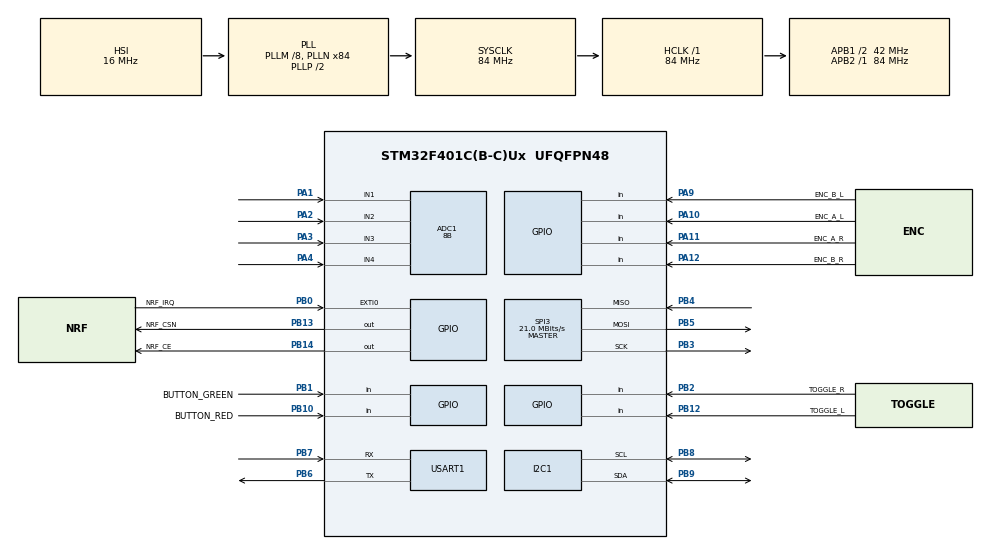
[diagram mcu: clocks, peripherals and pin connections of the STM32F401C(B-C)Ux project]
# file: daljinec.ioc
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ADC1.Channel-14\#ChannelRegularConversion=ADC_CHANNEL_2
ADC1.Channel-15\#ChannelRegularConversion=ADC_CHANNEL_3
ADC1.Channel-16\#ChannelRegularConversion=ADC_CHANNEL_4
ADC1.Channel-5\#ChannelRegularConversion=ADC_CHANNEL_1
ADC1.ClockPrescaler=ADC_CLOCK_SYNC_PCLK_DIV4
ADC1.ContinuousConvMode=DISABLE
ADC1.DMAContinuousRequests=DISABLE
ADC1.NbrOfConversion=4
ADC1.NbrOfConversionFlag=1
ADC1.Rank-14\#ChannelRegularConversion=2
ADC1.Rank-15\#ChannelRegularConversion=3
ADC1.Rank-16\#ChannelRegularConversion=4
ADC1.Resolution=ADC_RESOLUTION_8B
ADC1.SamplingTime-14\#ChannelRegularConversion=ADC_SAMPLETIME_112CYCLES
ADC1.SamplingTime-15\#ChannelRegularConversion=ADC_SAMPLETIME_112CYCLES
ADC1.SamplingTime-16\#ChannelRegularConversion=ADC_SAMPLETIME_112CYCLES
ADC1.SamplingTime-5\#ChannelRegularConversion=ADC_SAMPLETIME_112CYCLES
ADC1.ScanConvMode=ENABLE
ADC1.master=1
Dma.ADC1.0.Direction=DMA_PERIPH_TO_MEMORY
Dma.ADC1.0.FIFOMode=DMA_FIFOMODE_DISABLE
Dma.ADC1.0.Instance=DMA2_Stream0
Dma.ADC1.0.MemDataAlignment=DMA_MDATAALIGN_HALFWORD
Dma.ADC1.0.MemInc=DMA_MINC_ENABLE
Dma.ADC1.0.Mode=DMA_NORMAL
Dma.ADC1.0.PeriphDataAlignment=DMA_PDATAALIGN_HALFWORD
Dma.ADC1.0.PeriphInc=DMA_PINC_DISABLE
Dma.ADC1.0.Priority=DMA_PRIORITY_LOW
Dma.Request0=ADC1
I2C1.I2C_Mode=I2C_Fast
Mcu.Family=STM32F4
Mcu.Name=STM32F401C(B-C)Ux
Mcu.Package=UFQFPN48
NVIC.DMA2_Stream0_IRQn=true\:0\:0\:false\:false\:true\:false\:true
NVIC.EXTI0_IRQn=true\:0\:0\:false\:false\:true\:true\:true
NVIC.PriorityGroup=NVIC_PRIORITYGROUP_4
NVIC.TIM2_IRQn=true\:0\:0\:false\:false\:true\:true\:true
PA1.Signal=ADCx_IN1
PA10.GPIO_Label=ENC_A_L
PA10.Signal=GPIO_Input
PA11.GPIO_Label=ENC_A_R
PA11.Signal=GPIO_Input
PA12.GPIO_Label=ENC_B_R
PA12.Signal=GPIO_Input
PA2.Signal=ADCx_IN2
PA3.Signal=ADCx_IN3
PA4.Signal=ADCx_IN4
PA5.Signal=SPI1_SCK
PA9.GPIO_Label=ENC_B_L
PA9.Signal=GPIO_Input
PB0.GPIO_Label=NRF_IRQ
PB0.GPIO_ModeDefaultEXTI=GPIO_MODE_IT_FALLING
PB0.Signal=GPXTI0
PB1.GPIO_Label=BUTTON_GREEN
PB1.Signal=GPIO_Input
PB10.GPIO_Label=BUTTON_RED
PB10.Signal=GPIO_Input
PB12.GPIO_Label=TOGGLE_L
PB12.Signal=GPIO_Input
PB13.GPIO_Label=NRF_CSN
PB13.Signal=GPIO_Output
PB14.GPIO_Label=NRF_CE
PB14.Signal=GPIO_Output
PB2.GPIO_Label=TOGGLE_R
PB2.Signal=GPIO_Input
PB3.Mode=Full_Duplex_Master
PB3.Signal=SPI3_SCK
PB4.Mode=Full_Duplex_Master
PB4.Signal=SPI3_MISO
PB5.Mode=Full_Duplex_Master
PB5.Signal=SPI3_MOSI
PB6.Mode=Asynchronous
PB6.Signal=USART1_TX
PB7.Mode=Asynchronous
PB7.Signal=USART1_RX
PB8.Mode=I2C
PB8.Signal=I2C1_SCL
PB9.Mode=I2C
PB9.Signal=I2C1_SDA
PH0\ -\ OSC_IN.Mode=HSE-External-Oscillator
PH0\ -\ OSC_IN.Signal=RCC_OSC_IN
PH1\ -\ OSC_OUT.Mode=HSE-External-Oscillator
PH1\ -\ OSC_OUT.Signal=RCC_OSC_OUT
ProjectManager.HeapSize=0x200
ProjectManager.StackSize=0x400
ProjectManager.TargetToolchain=STM32CubeIDE
RCC.48MHZClocksFreq_Value=42000000
RCC.AHBFreq_Value=84000000
RCC.APB1CLKDivider=RCC_HCLK_DIV2
RCC.APB1Freq_Value=42000000
RCC.APB1TimFreq_Value=84000000
RCC.APB2Freq_Value=84000000
RCC.APB2TimFreq_Value=84000000
RCC.CortexFreq_Value=84000000
RCC.HCLKFreq_Value=84000000
RCC.HSE_VALUE=25000000
RCC.HSI_VALUE=16000000
RCC.LSE_VALUE=32768
RCC.PLLM=8
RCC.PLLN=84
RCC.SYSCLKFreq_VALUE=84000000
RCC.SYSCLKSource=RCC_SYSCLKSOURCE_PLLCLK
RCC.VCOOutputFreq_Value=168000000
SH.ADCx_IN1.0=ADC1_IN1,IN1
SH.ADCx_IN2.0=ADC1_IN2,IN2
SH.ADCx_IN3.0=ADC1_IN3,IN3
SH.ADCx_IN4.0=ADC1_IN4,IN4
SPI3.CalculateBaudRate=21.0 MBits/s
SPI3.Direction=SPI_DIRECTION_2LINES
SPI3.Mode=SPI_MODE_MASTER
SPI3.VirtualType=VM_MASTER
TIM2.Period=83999
USART1.VirtualMode=VM_ASYNC
VP_TIM2_VS_ClockSourceINT.Mode=Internal
board=custom

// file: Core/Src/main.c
/* USER CODE BEGIN Header */
/**
  ******************************************************************************
  * @file           : main.c
  * @brief          : Main program body
  ******************************************************************************
  * @attention
  *
  * <h2><center>&copy; Copyright (c) 2021 STMicroelectronics.
  * All rights reserved.</center></h2>
  *
  * This software component is licensed by ST under BSD 3-Clause license,
  * the "License"; You may not use this file except in compliance with the
  * License. You may obtain a copy of the License at:
  *                        opensource.org/licenses/BSD-3-Clause
  *
  ******************************************************************************
  */
/* USER CODE END Header */
#include "main.h"

/* USER CODE BEGIN Includes */
#include "ssd1306.h"
#include "nrf24.h"
#include "fonts.h"
#include "test.h"
#include "stdint.h"
#include <stdio.h>
/* USER CODE END Includes */

/* USER CODE BEGIN PTD */

struct robotPayload{
	int8_t x1;
	int8_t y1;
	int8_t x2;
	int8_t y2;
	uint8_t speed;
	uint8_t crc; //sestej vse podatke
} robotPay;

#define nRF24_WAIT_TIMEOUT 0xffff //timeout je majhen ker updatanje screena dela kot delay med vsakim polanjem

// Result of packet transmission
typedef enum {
	nRF24_TX_ERROR  = (uint8_t)0x00, // Unknown error
	nRF24_TX_SUCCESS,                // Packet has been transmitted successfully
	nRF24_TX_TIMEOUT,                // It was timeout during packet transmit
	nRF24_TX_MAXRT                   // Transmit failed with maximum auto retransmit count
} nRF24_TXResult;

void HAL_GPIO_EXTI_Callback(uint16_t GPIO_Pin);
/* USER CODE END PTD */

ADC_HandleTypeDef hadc1;
DMA_HandleTypeDef hdma_adc1;

I2C_HandleTypeDef hi2c1;

SPI_HandleTypeDef hspi3;

TIM_HandleTypeDef htim2;

UART_HandleTypeDef huart1;

/* USER CODE BEGIN PV */
volatile uint16_t ADCvalues[4];
volatile int conversionDone = 0;
char outputMessage[30] = "test";

int is_nrf24Avalible = 1;
volatile uint8_t nRF24_interupt = 0;
/* USER CODE END PV */

void SystemClock_Config(void);
static void MX_GPIO_Init(void);
static void MX_I2C1_Init(void);
static void MX_USART1_UART_Init(void);
static void MX_DMA_Init(void);
static void MX_ADC1_Init(void);
static void MX_TIM2_Init(void);
static void MX_SPI3_Init(void);

/* USER CODE BEGIN 0 */
void HAL_GPIO_EXTI_Callback(uint16_t GPIO_Pin){
	if(GPIO_Pin == GPIO_PIN_0){
		nRF24_interupt = 1; //spremenil se je status register pejt pogledat kaj se je zgodilo
	}
}
/* USER CODE END 0 */

int main(void)
{

  /* MCU Configuration--------------------------------------------------------*/

  /* Reset of all peripherals, Initializes the Flash interface and the Systick. */
  HAL_Init();

  /* Configure the system clock */
  SystemClock_Config();

  /* Initialize all configured peripherals */
  MX_GPIO_Init();
  MX_I2C1_Init();
  MX_DMA_Init();
  MX_USART1_UART_Init();
  MX_ADC1_Init();
  MX_TIM2_Init();
  MX_SPI3_Init();
  /* USER CODE BEGIN 2 */
  //DMA_init() mora biti klican pred ADC1_Init()!!!
  HAL_TIM_Base_Start(&htim2);
  __HAL_ADC_ENABLE(&hadc1);

  SSD1306_Init();  // Initialize
  nRF24_Init(); //nastavi radio ne pozabit nastaviti SPI handle in outpute v support.h

  is_nrf24Avalible = nRF24_Check();
  if(is_nrf24Avalible == 0){
	  SSD1306_GotoXY (10,10);
	  SSD1306_Puts ("erroe no nRF24", &Font_7x10, 1);
	  SSD1306_UpdateScreen();
	  while(1){} //ni nrf24 prisoten
  }

  nRF24_DisableAA(0xFF);
  nRF24_SetRFChannel(115);
  nRF24_SetDataRate(nRF24_DR_1Mbps);
  nRF24_SetCRCScheme(nRF24_CRC_off);
  nRF24_SetAddrWidth(3);

  static const uint8_t nRF24_ADDR[] = { 0xE7, 0x1C, 0xE3 };
  nRF24_SetAddr(nRF24_PIPETX, nRF24_ADDR); // program TX address
  // Set TX power (maximum)
  nRF24_SetTXPower(nRF24_TXPWR_0dBm);
  nRF24_SetOperationalMode(nRF24_MODE_TX);
  nRF24_ClearIRQFlags();
  // Wake the transceiver
  nRF24_SetPowerMode(nRF24_PWR_UP);
  int payload_length = 6;

  /*
     //SSD1306_ScrollRight(0,7);  // scroll entire screen
     //HAL_Delay(2000);  // 2 sec
     //SSD1306_ScrollLeft(0,7);  // scroll entire screen
     //HAL_Delay(2000);  // 2 sec
     //SSD1306_Stopscroll();
     SSD1306_InvertDisplay(1);   // invert the display
     HAL_Delay(2000);
     SSD1306_InvertDisplay(0);  // normalize the display
     HAL_Delay(2000);
     SSD1306_Clear();
*/
  /* USER CODE END 2 */

  /* Infinite loop */
  /* USER CODE BEGIN WHILE */
  int a = 0;
  volatile int posljiPaket = 1; //
  volatile uint32_t wait = nRF24_WAIT_TIMEOUT;

  while (1)
  {
	  HAL_ADC_Start_DMA(&hadc1, (uint32_t*)ADCvalues, 4);
	  //SSD1306_Fill (0);
	  while(conversionDone == 0){}
	  conversionDone = 0;
    /* USER CODE END WHILE */

    /* USER CODE BEGIN 3 */

	  /*
	  SSD1306_GotoXY (10,10);
	  sprintf(outputMessage,"stat:%d %d",is_nrf24Avalible,wait);
	  SSD1306_Puts (outputMessage, &Font_7x10, 1);

	  SSD1306_GotoXY (10,20);
	  sprintf(outputMessage,"1:%d",ADCvalues[0]);
	  SSD1306_Puts (outputMessage, &Font_7x10, 1);

	  SSD1306_GotoXY (10,30);
	  sprintf(outputMessage,"2:%d",ADCvalues[1]);
	  SSD1306_Puts (outputMessage, &Font_7x10, 1);

	  SSD1306_GotoXY (10,40);
	  sprintf(outputMessage,"3:%d",ADCvalues[2]);
	  SSD1306_Puts (outputMessage, &Font_7x10, 1);

	  SSD1306_GotoXY (10,50);
	  sprintf(outputMessage,"4:%d",ADCvalues[3]);
	  SSD1306_Puts (outputMessage, &Font_7x10, 1);

	  a++;
	  SSD1306_UpdateScreen();
	  */

	  //poslji paket
	  if(posljiPaket){
		  robotPay.x2 = ((int)ADCvalues[0])-128;
		  robotPay.y2 = ((int)ADCvalues[1])-128;
		  robotPay.y1 = ((int)ADCvalues[2])-128;
		  robotPay.x1 = ((int)ADCvalues[3])-128;
		  robotPay.speed = 100;
		  robotPay.crc = (robotPay.x1 + robotPay.y1 + robotPay.x2 + robotPay.y2 + robotPay.speed);
		  nRF24_CE_L();//omogoci cip zacni komunikacijo
		  nRF24_WritePayload((uint8_t*)&robotPay, payload_length); //prenesi podatke na TX FIFO
		  nRF24_CE_H();
		  wait = nRF24_WAIT_TIMEOUT;
		  posljiPaket = 0; //cakamo na ACK ali na timeout
	  }

	  if(wait){wait--;}
	  else{posljiPaket=1;} //timeout se je pojavil poslji se enkrat sporocilo

	  if(nRF24_interupt){
		  uint8_t status = nRF24_GetStatus();
		  nRF24_interupt = 0;
		  nRF24_CE_L();
		  nRF24_ClearIRQFlags();
		  if (status & nRF24_FLAG_MAX_RT) {// Auto retransmit counter exceeds the programmed maximum limit (FIFO is not removed)

		  }
		  else if (status & nRF24_FLAG_TX_DS){
			  // Successful transmission transmit
			  posljiPaket = 1;
		  }
		  else{nRF24_FlushTX();}
	  }
  }
  /* USER CODE END 3 */
}

void SystemClock_Config(void)
{
  RCC_OscInitTypeDef RCC_OscInitStruct = {0};
  RCC_ClkInitTypeDef RCC_ClkInitStruct = {0};

  /** Configure the main internal regulator output voltage
  */
  __HAL_RCC_PWR_CLK_ENABLE();
  __HAL_PWR_VOLTAGESCALING_CONFIG(PWR_REGULATOR_VOLTAGE_SCALE2);
  /** Initializes the RCC Oscillators according to the specified parameters
  * in the RCC_OscInitTypeDef structure.
  */
  RCC_OscInitStruct.OscillatorType = RCC_OSCILLATORTYPE_HSI;
  RCC_OscInitStruct.HSIState = RCC_HSI_ON;
  RCC_OscInitStruct.HSICalibrationValue = RCC_HSICALIBRATION_DEFAULT;
  RCC_OscInitStruct.PLL.PLLState = RCC_PLL_ON;
  RCC_OscInitStruct.PLL.PLLSource = RCC_PLLSOURCE_HSI;
  RCC_OscInitStruct.PLL.PLLM = 8;
  RCC_OscInitStruct.PLL.PLLN = 84;
  RCC_OscInitStruct.PLL.PLLP = RCC_PLLP_DIV2;
  RCC_OscInitStruct.PLL.PLLQ = 4;
  if (HAL_RCC_OscConfig(&RCC_OscInitStruct) != HAL_OK)
  {
    Error_Handler();
  }
  /** Initializes the CPU, AHB and APB buses clocks
  */
  RCC_ClkInitStruct.ClockType = RCC_CLOCKTYPE_HCLK|RCC_CLOCKTYPE_SYSCLK
                              |RCC_CLOCKTYPE_PCLK1|RCC_CLOCKTYPE_PCLK2;
  RCC_ClkInitStruct.SYSCLKSource = RCC_SYSCLKSOURCE_PLLCLK;
  RCC_ClkInitStruct.AHBCLKDivider = RCC_SYSCLK_DIV1;
  RCC_ClkInitStruct.APB1CLKDivider = RCC_HCLK_DIV2;
  RCC_ClkInitStruct.APB2CLKDivider = RCC_HCLK_DIV1;

  if (HAL_RCC_ClockConfig(&RCC_ClkInitStruct, FLASH_LATENCY_2) != HAL_OK)
  {
    Error_Handler();
  }
}

static void MX_ADC1_Init(void)
{

  ADC_ChannelConfTypeDef sConfig = {0};

  /** Configure the global features of the ADC (Clock, Resolution, Data Alignment and number of conversion)
  */
  hadc1.Instance = ADC1;
  hadc1.Init.ClockPrescaler = ADC_CLOCK_SYNC_PCLK_DIV4;
  hadc1.Init.Resolution = ADC_RESOLUTION_8B;
  hadc1.Init.ScanConvMode = ENABLE;
  hadc1.Init.ContinuousConvMode = DISABLE;
  hadc1.Init.DiscontinuousConvMode = DISABLE;
  hadc1.Init.ExternalTrigConvEdge = ADC_EXTERNALTRIGCONVEDGE_NONE;
  hadc1.Init.ExternalTrigConv = ADC_SOFTWARE_START;
  hadc1.Init.DataAlign = ADC_DATAALIGN_RIGHT;
  hadc1.Init.NbrOfConversion = 4;
  hadc1.Init.DMAContinuousRequests = DISABLE;
  hadc1.Init.EOCSelection = ADC_EOC_SINGLE_CONV;
  if (HAL_ADC_Init(&hadc1) != HAL_OK)
  {
    Error_Handler();
  }
  /** Configure for the selected ADC regular channel its corresponding rank in the sequencer and its sample time.
  */
  sConfig.Channel = ADC_CHANNEL_1;
  sConfig.Rank = 1;
  sConfig.SamplingTime = ADC_SAMPLETIME_112CYCLES;
  if (HAL_ADC_ConfigChannel(&hadc1, &sConfig) != HAL_OK)
  {
    Error_Handler();
  }
  /** Configure for the selected ADC regular channel its corresponding rank in the sequencer and its sample time.
  */
  sConfig.Channel = ADC_CHANNEL_2;
  sConfig.Rank = 2;
  if (HAL_ADC_ConfigChannel(&hadc1, &sConfig) != HAL_OK)
  {
    Error_Handler();
  }
  /** Configure for the selected ADC regular channel its corresponding rank in the sequencer and its sample time.
  */
  sConfig.Channel = ADC_CHANNEL_3;
  sConfig.Rank = 3;
  if (HAL_ADC_ConfigChannel(&hadc1, &sConfig) != HAL_OK)
  {
    Error_Handler();
  }
  /** Configure for the selected ADC regular channel its corresponding rank in the sequencer and its sample time.
  */
  sConfig.Channel = ADC_CHANNEL_4;
  sConfig.Rank = 4;
  if (HAL_ADC_ConfigChannel(&hadc1, &sConfig) != HAL_OK)
  {
    Error_Handler();
  }

}

static void MX_I2C1_Init(void)
{

  hi2c1.Instance = I2C1;
  hi2c1.Init.ClockSpeed = 400000;
  hi2c1.Init.DutyCycle = I2C_DUTYCYCLE_2;
  hi2c1.Init.OwnAddress1 = 0;
  hi2c1.Init.AddressingMode = I2C_ADDRESSINGMODE_7BIT;
  hi2c1.Init.DualAddressMode = I2C_DUALADDRESS_DISABLE;
  hi2c1.Init.OwnAddress2 = 0;
  hi2c1.Init.GeneralCallMode = I2C_GENERALCALL_DISABLE;
  hi2c1.Init.NoStretchMode = I2C_NOSTRETCH_DISABLE;
  if (HAL_I2C_Init(&hi2c1) != HAL_OK)
  {
    Error_Handler();
  }

}

static void MX_SPI3_Init(void)
{

  /* SPI3 parameter configuration*/
  hspi3.Instance = SPI3;
  hspi3.Init.Mode = SPI_MODE_MASTER;
  hspi3.Init.Direction = SPI_DIRECTION_2LINES;
  hspi3.Init.DataSize = SPI_DATASIZE_8BIT;
  hspi3.Init.CLKPolarity = SPI_POLARITY_LOW;
  hspi3.Init.CLKPhase = SPI_PHASE_1EDGE;
  hspi3.Init.NSS = SPI_NSS_SOFT;
  hspi3.Init.BaudRatePrescaler = SPI_BAUDRATEPRESCALER_2;
  hspi3.Init.FirstBit = SPI_FIRSTBIT_MSB;
  hspi3.Init.TIMode = SPI_TIMODE_DISABLE;
  hspi3.Init.CRCCalculation = SPI_CRCCALCULATION_DISABLE;
  hspi3.Init.CRCPolynomial = 10;
  if (HAL_SPI_Init(&hspi3) != HAL_OK)
  {
    Error_Handler();
  }

}

static void MX_TIM2_Init(void)
{

  TIM_ClockConfigTypeDef sClockSourceConfig = {0};
  TIM_MasterConfigTypeDef sMasterConfig = {0};

  htim2.Instance = TIM2;
  htim2.Init.Prescaler = 0;
  htim2.Init.CounterMode = TIM_COUNTERMODE_UP;
  htim2.Init.Period = 83999;
  htim2.Init.ClockDivision = TIM_CLOCKDIVISION_DIV1;
  htim2.Init.AutoReloadPreload = TIM_AUTORELOAD_PRELOAD_DISABLE;
  if (HAL_TIM_Base_Init(&htim2) != HAL_OK)
  {
    Error_Handler();
  }
  sClockSourceConfig.ClockSource = TIM_CLOCKSOURCE_INTERNAL;
  if (HAL_TIM_ConfigClockSource(&htim2, &sClockSourceConfig) != HAL_OK)
  {
    Error_Handler();
  }
  sMasterConfig.MasterOutputTrigger = TIM_TRGO_RESET;
  sMasterConfig.MasterSlaveMode = TIM_MASTERSLAVEMODE_DISABLE;
  if (HAL_TIMEx_MasterConfigSynchronization(&htim2, &sMasterConfig) != HAL_OK)
  {
    Error_Handler();
  }

}

static void MX_USART1_UART_Init(void)
{

  huart1.Instance = USART1;
  huart1.Init.BaudRate = 115200;
  huart1.Init.WordLength = UART_WORDLENGTH_8B;
  huart1.Init.StopBits = UART_STOPBITS_1;
  huart1.Init.Parity = UART_PARITY_NONE;
  huart1.Init.Mode = UART_MODE_TX_RX;
  huart1.Init.HwFlowCtl = UART_HWCONTROL_NONE;
  huart1.Init.OverSampling = UART_OVERSAMPLING_16;
  if (HAL_UART_Init(&huart1) != HAL_OK)
  {
    Error_Handler();
  }

}

static void MX_DMA_Init(void)
{

  /* DMA controller clock enable */
  __HAL_RCC_DMA2_CLK_ENABLE();

  /* DMA interrupt init */
  /* DMA2_Stream0_IRQn interrupt configuration */
  HAL_NVIC_SetPriority(DMA2_Stream0_IRQn, 0, 0);
  HAL_NVIC_EnableIRQ(DMA2_Stream0_IRQn);

}

static void MX_GPIO_Init(void)
{
  GPIO_InitTypeDef GPIO_InitStruct = {0};

  /* GPIO Ports Clock Enable */
  __HAL_RCC_GPIOH_CLK_ENABLE();
  __HAL_RCC_GPIOA_CLK_ENABLE();
  __HAL_RCC_GPIOB_CLK_ENABLE();

  /*Configure GPIO pin Output Level */
  HAL_GPIO_WritePin(GPIOB, NRF_CSN_Pin|NRF_CE_Pin, GPIO_PIN_RESET);

  /*Configure GPIO pin : PA5 */
  GPIO_InitStruct.Pin = GPIO_PIN_5;
  GPIO_InitStruct.Mode = GPIO_MODE_AF_PP;
  GPIO_InitStruct.Pull = GPIO_NOPULL;
  GPIO_InitStruct.Speed = GPIO_SPEED_FREQ_VERY_HIGH;
  GPIO_InitStruct.Alternate = GPIO_AF5_SPI1;
  HAL_GPIO_Init(GPIOA, &GPIO_InitStruct);

  /*Configure GPIO pin : NRF_IRQ_Pin */
  GPIO_InitStruct.Pin = NRF_IRQ_Pin;
  GPIO_InitStruct.Mode = GPIO_MODE_IT_FALLING;
  GPIO_InitStruct.Pull = GPIO_NOPULL;
  HAL_GPIO_Init(NRF_IRQ_GPIO_Port, &GPIO_InitStruct);

  /*Configure GPIO pins : BUTTON_GREEN_Pin TOGGLE_R_Pin BUTTON_RED_Pin TOGGLE_L_Pin */
  GPIO_InitStruct.Pin = BUTTON_GREEN_Pin|TOGGLE_R_Pin|BUTTON_RED_Pin|TOGGLE_L_Pin;
  GPIO_InitStruct.Mode = GPIO_MODE_INPUT;
  GPIO_InitStruct.Pull = GPIO_NOPULL;
  HAL_GPIO_Init(GPIOB, &GPIO_InitStruct);

  /*Configure GPIO pins : NRF_CSN_Pin NRF_CE_Pin */
  GPIO_InitStruct.Pin = NRF_CSN_Pin|NRF_CE_Pin;
  GPIO_InitStruct.Mode = GPIO_MODE_OUTPUT_PP;
  GPIO_InitStruct.Pull = GPIO_NOPULL;
  GPIO_InitStruct.Speed = GPIO_SPEED_FREQ_LOW;
  HAL_GPIO_Init(GPIOB, &GPIO_InitStruct);

  /*Configure GPIO pins : ENC_B_L_Pin ENC_A_L_Pin ENC_A_R_Pin ENC_B_R_Pin */
  GPIO_InitStruct.Pin = ENC_B_L_Pin|ENC_A_L_Pin|ENC_A_R_Pin|ENC_B_R_Pin;
  GPIO_InitStruct.Mode = GPIO_MODE_INPUT;
  GPIO_InitStruct.Pull = GPIO_NOPULL;
  HAL_GPIO_Init(GPIOA, &GPIO_InitStruct);

  /* EXTI interrupt init*/
  HAL_NVIC_SetPriority(EXTI0_IRQn, 0, 0);
  HAL_NVIC_EnableIRQ(EXTI0_IRQn);

}

/* USER CODE BEGIN 4 */
/*
void HAL_ADC_ConvHalfCpltCallback(ADC_HandleTypeDef* hadc){
	//napol napoljen buffer z vrednostmi
}
*/
void HAL_ADC_ConvCpltCallback(ADC_HandleTypeDef* hadc){
   //buffer je poln
	conversionDone=1;
}
/* USER CODE END 4 */

void Error_Handler(void)
{
  __disable_irq();
  while (1)
  {
  }
}

/************************ (C) COPYRIGHT STMicroelectronics *****END OF FILE****/
